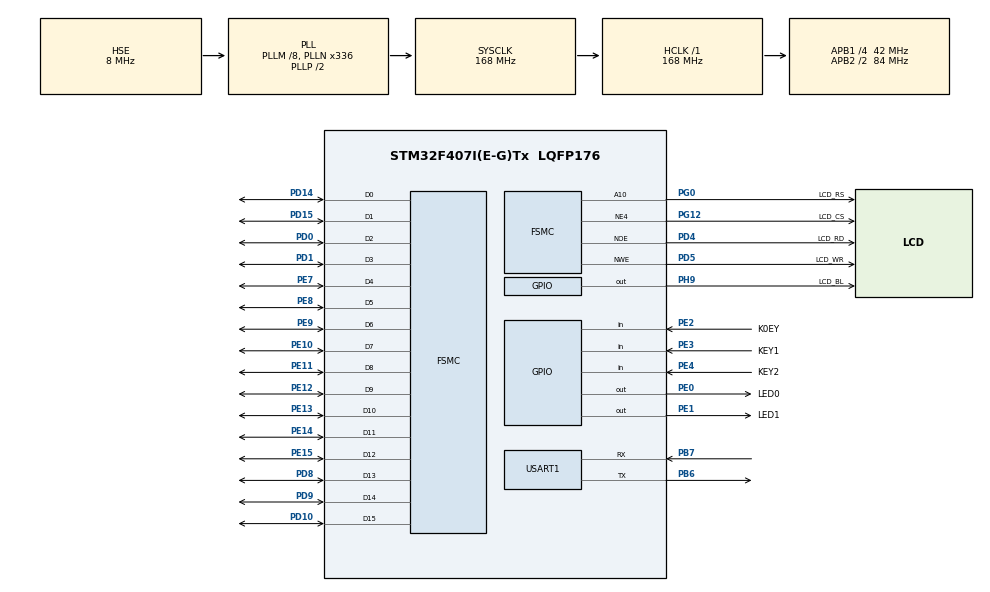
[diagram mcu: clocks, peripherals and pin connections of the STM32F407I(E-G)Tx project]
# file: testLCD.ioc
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FSMC.AddressSetupTime1=0xf
FSMC.DataSetupTime1=60
FSMC.ExtendedAddressSetupTime1=9
FSMC.ExtendedDataSetupTime1=9
FSMC.ExtendedMode1=FSMC_EXTENDED_MODE_ENABLE
Mcu.Family=STM32F4
Mcu.Name=STM32F407I(E-G)Tx
Mcu.Package=LQFP176
NVIC.PriorityGroup=NVIC_PRIORITYGROUP_4
PA13.Mode=Serial_Wire
PA13.Signal=SYS_JTMS-SWDIO
PA14.Mode=Serial_Wire
PA14.Signal=SYS_JTCK-SWCLK
PB6.Mode=Asynchronous
PB6.Signal=USART1_TX
PB7.Mode=Asynchronous
PB7.Signal=USART1_RX
PD0.Signal=FSMC_D2_DA2
PD1.Signal=FSMC_D3_DA3
PD10.Signal=FSMC_D15_DA15
PD14.Signal=FSMC_D0_DA0
PD15.Signal=FSMC_D1_DA1
PD4.GPIO_Label=LCD_RD
PD4.GPIO_PuPd=GPIO_PULLUP
PD4.Signal=FSMC_NOE
PD5.GPIO_Label=LCD_WR
PD5.GPIO_PuPd=GPIO_PULLUP
PD5.Signal=FSMC_NWE
PD8.Signal=FSMC_D13_DA13
PD9.Signal=FSMC_D14_DA14
PE0.GPIO_Label=LED0
PE0.GPIO_Speed=GPIO_SPEED_FREQ_HIGH
PE0.PinState=GPIO_PIN_SET
PE0.Signal=GPIO_Output
PE1.GPIO_Label=LED1
PE1.GPIO_Speed=GPIO_SPEED_FREQ_HIGH
PE1.PinState=GPIO_PIN_SET
PE1.Signal=GPIO_Output
PE10.Signal=FSMC_D7_DA7
PE11.Signal=FSMC_D8_DA8
PE12.Signal=FSMC_D9_DA9
PE13.Signal=FSMC_D10_DA10
PE14.Signal=FSMC_D11_DA11
PE15.Signal=FSMC_D12_DA12
PE2.GPIO_Label=K0EY
PE2.Signal=GPIO_Input
PE3.GPIO_Label=KEY1
PE3.Signal=GPIO_Input
PE4.GPIO_Label=KEY2
PE4.Signal=GPIO_Input
PE7.Signal=FSMC_D4_DA4
PE8.Signal=FSMC_D5_DA5
PE9.Signal=FSMC_D6_DA6
PG0.GPIO_Label=LCD_RS
PG0.GPIO_PuPd=GPIO_PULLUP
PG0.Signal=FSMC_A10
PG12.GPIO_Label=LCD_CS
PG12.GPIO_PuPd=GPIO_PULLUP
PG12.Mode=NorPsramChipSelect4_1
PG12.Signal=FSMC_NE4
PH0-OSC_IN.Mode=HSE-External-Oscillator
PH0-OSC_IN.Signal=RCC_OSC_IN
PH1-OSC_OUT.Mode=HSE-External-Oscillator
PH1-OSC_OUT.Signal=RCC_OSC_OUT
PH9.GPIO_Label=LCD_BL
PH9.GPIO_Speed=GPIO_SPEED_FREQ_HIGH
PH9.PinState=GPIO_PIN_SET
PH9.Signal=GPIO_Output
ProjectManager.HeapSize=0x200
ProjectManager.StackSize=0x400
ProjectManager.TargetToolchain=MDK-ARM V5
RCC.48MHZClocksFreq_Value=84000000
RCC.AHBFreq_Value=168000000
RCC.APB1CLKDivider=RCC_HCLK_DIV4
RCC.APB1Freq_Value=42000000
RCC.APB1TimFreq_Value=84000000
RCC.APB2CLKDivider=RCC_HCLK_DIV2
RCC.APB2Freq_Value=84000000
RCC.APB2TimFreq_Value=168000000
RCC.CortexFreq_Value=168000000
RCC.HCLKFreq_Value=168000000
RCC.HSE_VALUE=8000000
RCC.HSI_VALUE=16000000
RCC.LSE_VALUE=32768
RCC.PLLM=8
RCC.PLLN=336
RCC.PLLSourceVirtual=RCC_PLLSOURCE_HSE
RCC.SYSCLKFreq_VALUE=168000000
RCC.SYSCLKSource=RCC_SYSCLKSOURCE_PLLCLK
RCC.VCOOutputFreq_Value=336000000
SH.FSMC_A10.0=FSMC_A10,A10_1
SH.FSMC_D0_DA0.0=FSMC_D0,16b-d1
SH.FSMC_D10_DA10.0=FSMC_D10,16b-d1
SH.FSMC_D11_DA11.0=FSMC_D11,16b-d1
SH.FSMC_D12_DA12.0=FSMC_D12,16b-d1
SH.FSMC_D13_DA13.0=FSMC_D13,16b-d1
SH.FSMC_D14_DA14.0=FSMC_D14,16b-d1
SH.FSMC_D15_DA15.0=FSMC_D15,16b-d1
SH.FSMC_D1_DA1.0=FSMC_D1,16b-d1
SH.FSMC_D2_DA2.0=FSMC_D2,16b-d1
SH.FSMC_D3_DA3.0=FSMC_D3,16b-d1
SH.FSMC_D4_DA4.0=FSMC_D4,16b-d1
SH.FSMC_D5_DA5.0=FSMC_D5,16b-d1
SH.FSMC_D6_DA6.0=FSMC_D6,16b-d1
SH.FSMC_D7_DA7.0=FSMC_D7,16b-d1
SH.FSMC_D8_DA8.0=FSMC_D8,16b-d1
SH.FSMC_D9_DA9.0=FSMC_D9,16b-d1
SH.FSMC_NOE.0=FSMC_NOE,Lcd1
SH.FSMC_NWE.0=FSMC_NWE,Lcd1
USART1.VirtualMode=VM_ASYNC
board=custom

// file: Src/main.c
/* USER CODE BEGIN Header */
/**
  ******************************************************************************
  * @file           : main.c
  * @brief          : Main program body
  ******************************************************************************
  * @attention
  *
  * <h2><center>&copy; Copyright (c) 2024 STMicroelectronics.
  * All rights reserved.</center></h2>
  *
  * This software component is licensed by ST under BSD 3-Clause license,
  * the "License"; You may not use this file except in compliance with the
  * License. You may obtain a copy of the License at:
  *                        opensource.org/licenses/BSD-3-Clause
  *
  ******************************************************************************
  */
/* USER CODE END Header */

#include "main.h"
#include "usart.h"
#include "gpio.h"
#include "fsmc.h"

/* USER CODE BEGIN Includes */
#include "lcd.h"
/* USER CODE END Includes */

/* USER CODE BEGIN PV */
uint8_t lcd_id[12];
uint16_t colors[12] = {WHITE, BLACK, BLUE, RED, MAGENTA, GREEN, CYAN, YELLOW, BRRED, GRAY, LGRAY, BROWN};
uint8_t color_index = 0;
/* USER CODE END PV */

void SystemClock_Config(void);
/* USER CODE BEGIN PFP */
uint8_t sys_stm32_clock_init(uint32_t plln, uint32_t pllm, uint32_t pllp, uint32_t pllq);
uint8_t key_scan(uint8_t mode);
void load_draw_dialog(void);
void lcd_draw_bline(uint16_t x1, uint16_t y1, uint16_t x2, uint16_t y2, uint8_t size, uint16_t color);
void rtp_test(void);
void ctp_test(void);
/* USER CODE END PFP */

int main(void)
{

  /* MCU Configuration--------------------------------------------------------*/

  /* Reset of all peripherals, Initializes the Flash interface and the Systick. */
  HAL_Init();

  /* Configure the system clock */
  SystemClock_Config();

  /* Initialize all configured peripherals */
  MX_GPIO_Init();
  MX_FSMC_Init();
  MX_USART1_UART_Init();
  /* USER CODE BEGIN 2 */
	lcd_init();                             /* 初始化LCD */
  g_point_color = RED;
  sprintf((char *)lcd_id, "LCD ID:%04X", lcddev.id);  /* 将LCD ID打印到lcd_id数组 */

  /* USER CODE END 2 */

  /* Infinite loop */
  /* USER CODE BEGIN WHILE */
  while (1)
  {
		lcd_clear(colors[color_index]);  //清屏

		lcd_show_string(10, 40, 240, 32, 32, "STM32", RED);
		lcd_show_string(10, 80, 240, 24, 24, "TFTLCD TEST", RED);
		lcd_show_string(10, 110, 240, 16, 16, "ATOM@ALIENTEK", RED);
		lcd_show_string(10, 130, 240, 16, 16, (char *)lcd_id, RED); // 显示LCD ID
		color_index++;

		if (color_index == 12){
				color_index = 0;
		}
		HAL_GPIO_TogglePin(LED0_GPIO_Port, LED0_Pin); // LED0闪烁
		HAL_Delay(1000);
    /* USER CODE END WHILE */

  }
}

void SystemClock_Config(void)
{
  RCC_OscInitTypeDef RCC_OscInitStruct = {0};
  RCC_ClkInitTypeDef RCC_ClkInitStruct = {0};

  /** Configure the main internal regulator output voltage
  */
  __HAL_RCC_PWR_CLK_ENABLE();
  __HAL_PWR_VOLTAGESCALING_CONFIG(PWR_REGULATOR_VOLTAGE_SCALE1);
  /** Initializes the CPU, AHB and APB busses clocks
  */
  RCC_OscInitStruct.OscillatorType = RCC_OSCILLATORTYPE_HSE;
  RCC_OscInitStruct.HSEState = RCC_HSE_ON;
  RCC_OscInitStruct.PLL.PLLState = RCC_PLL_ON;
  RCC_OscInitStruct.PLL.PLLSource = RCC_PLLSOURCE_HSE;
  RCC_OscInitStruct.PLL.PLLM = 8;
  RCC_OscInitStruct.PLL.PLLN = 336;
  RCC_OscInitStruct.PLL.PLLP = RCC_PLLP_DIV2;
  RCC_OscInitStruct.PLL.PLLQ = 4;
  if (HAL_RCC_OscConfig(&RCC_OscInitStruct) != HAL_OK)
  {
    Error_Handler();
  }
  /** Initializes the CPU, AHB and APB busses clocks
  */
  RCC_ClkInitStruct.ClockType = RCC_CLOCKTYPE_HCLK|RCC_CLOCKTYPE_SYSCLK
                              |RCC_CLOCKTYPE_PCLK1|RCC_CLOCKTYPE_PCLK2;
  RCC_ClkInitStruct.SYSCLKSource = RCC_SYSCLKSOURCE_PLLCLK;
  RCC_ClkInitStruct.AHBCLKDivider = RCC_SYSCLK_DIV1;
  RCC_ClkInitStruct.APB1CLKDivider = RCC_HCLK_DIV4;
  RCC_ClkInitStruct.APB2CLKDivider = RCC_HCLK_DIV2;

  if (HAL_RCC_ClockConfig(&RCC_ClkInitStruct, FLASH_LATENCY_5) != HAL_OK)
  {
    Error_Handler();
  }
}

void Error_Handler(void)
{
}

/************************ (C) COPYRIGHT STMicroelectronics *****END OF FILE****/
